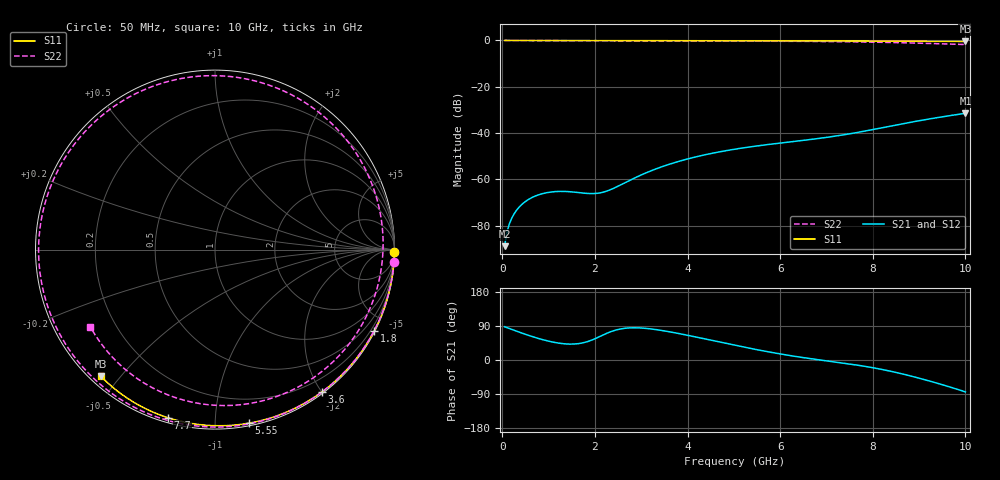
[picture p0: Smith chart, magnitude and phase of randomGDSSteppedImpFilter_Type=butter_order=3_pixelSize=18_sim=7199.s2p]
! freq	dB(S11)	phase(S11)	dB(S12)	phase(S12)
!  dB(S21)	phase(S21)	dB(S22)	phase(S22)
!S-par simulation data
#  GHz  S  DB  R 50
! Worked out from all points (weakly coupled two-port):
!   200 points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, 50 MHz to 10 GHz, reference 50 ohm
!   highest |S21| = -31.49 dB at 10 GHz (marker M1); lowest = -88.9 dB at 50 MHz (marker M2)
!   lowest |S11| = -0.4 dB at 10 GHz (marker M3), VSWR 38.96, Z = 1.54 - j22.2 ohm
!   |S11| at or under -10 dB: nowhere
!   |S22| runs from -1.8 to 0.0 dB; largest |S21 - S12| = 0
!   S11 on the Smith chart (normalised r, x): 50 MHz: open; 1.8 GHz: 0.04, -4.15; 3.6 GHz: 0.02, -2.01; 5.55 GHz: 0.02, -1.21; 7.7 GHz: 0.02, -0.76; 10 GHz: 0.03, -0.44
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0.05  -0.00 -0.8  -88.90 87.7  -88.90 87.7  -0.00 -3.9
0.15  -0.00 -2.3  -79.42 83.1  -79.42 83.1  -0.02 -11.6
0.45  -0.01 -6.8  -70.38 69.9  -70.38 69.9  -0.05 -34.3
0.9  -0.02 -13.6  -66.04 52.8  -66.04 52.8  -0.08 -66.1
1.3  -0.02 -19.7  -65.23 43.2  -65.23 43.2  -0.10 -91.4
1.75  -0.03 -26.3  -65.96 45.5  -65.96 45.5  -0.12 -116.5
1.8  -0.03 -27.1  -66.06 47.1  -66.06 47.1  -0.12 -119.1
2.55  -0.05 -38.0  -62.49 81.8  -62.49 81.8  -0.13 -154.1
3.4  -0.07 -50.1  -54.91 78.8  -54.91 78.8  -0.16 171.8
3.6  -0.07 -52.9  -53.54 74.7  -53.54 74.7  -0.16 164.2
4.3  -0.09 -62.6  -49.75 57.6  -49.75 57.6  -0.19 137.9
5.05  -0.11 -72.6  -46.90 38.2  -46.90 38.2  -0.24 109.2
5.55  -0.13 -79.1  -45.46 26.0  -45.46 26.0  -0.27 89.2
6.1  -0.15 -86.1  -44.11 14.0  -44.11 14.0  -0.33 65.9
6.7  -0.18 -93.5  -42.69 2.8  -42.69 2.8  -0.41 38.7
7.2  -0.21 -99.6  -41.32 -5.5  -41.32 -5.5  -0.50 14.6
7.7  -0.24 -105.6  -39.64 -14.2  -39.64 -14.2  -0.63 -10.9
8.35  -0.29 -113.2  -37.14 -28.7  -37.14 -28.7  -0.86 -45.9
8.8  -0.33 -118.4  -35.41 -41.6  -35.41 -41.6  -1.07 -71.5
9.2  -0.36 -123.0  -33.99 -54.6  -33.99 -54.6  -1.29 -95.5
9.6  -0.40 -127.5  -32.69 -68.8  -32.69 -68.8  -1.52 -120.9
10  -0.45 -132.1  -31.49 -84.1  -31.49 -84.1  -1.76 -148.2
